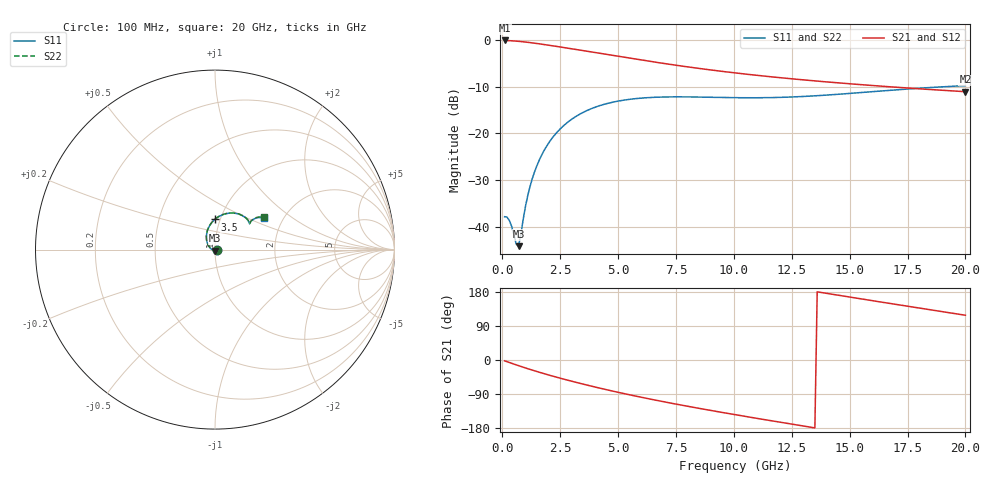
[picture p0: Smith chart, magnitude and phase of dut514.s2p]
! Touchstone file exported from HFSS 2024.1.0
!  File:  C:/UserFiles/LocalFiles/RDL_TSV_Batchsim/temp_RDL_TSV_514_1779740640.aedt
!  Generated:  04:36:37 AM May 26, 2026
!  Design:  RDL_TSV
!  Project:  temp_RDL_TSV_514_1779740640
!  Setup:  Setup1
!  Solution:  Sweep
! Variables:
!  dtsv = 12.26um
!  hbump = 3um
!  htsv = 73.42um
!  ldown = 315.69um
!  lrdl = 662.88um
!  p = 40
!  p1 = 55.71um
!  rhole = 10um
!  subl = 3598.59um
!  t = 450um
!  tdown = 3.33um
!  trdl = 4.18um
!  viad = 10um
!  wdown = 24.14um
!  wrdl = 28.05um
!  xbump = 18um
# GHz S MA R 50.000000
! Terminal data exported
! Port[1] = TM1_1_T1
! Port[2] = TM1_4_T1
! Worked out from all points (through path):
!   200 points, 100 MHz to 20 GHz, reference 50 ohm
!   highest |S21| = -0.12 dB at 100 MHz (marker M1); lowest = -11.1 dB at 20 GHz (marker M2)
!   group delay of S21, straight-line fit = 31.6 ps
!   lowest |S11| = -44.1 dB at 700 MHz (marker M3), VSWR 1.01, Z = 49.8 - j0.572 ohm
!   |S11| at or under -10 dB: start of sweep to 19.13 GHz
!   |S22| runs from -44.1 to -9.7 dB; largest |S21 - S12| = 3.7e-14
!   S11 on the Smith chart (normalised r, x): 100 MHz: 1.03, -0.00; 3.5 GHz: 0.94, +0.33; 20 GHz: 1.60, +0.63
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0.1  0.01285 -3.4  0.9864 -2.2  0.9864 -2.2  0.01285 -3.4
! Gamma 0 0 0 0
! Port Impedance 50 0 50 0
0.3  0.0118 -19.5  0.9815 -6.6  0.9815 -6.6  0.01179 -19.5
0.4  0.01022 -31.2  0.9783 -8.7  0.9783 -8.7  0.01021 -31.2
0.6  0.006543 -73.7  0.9703 -12.9  0.9703 -12.9  0.006524 -74.0
0.7  0.006221 -112.6  0.9656 -14.9  0.9656 -14.9  0.006224 -113.0
0.8  0.008246 -147.3  0.9604 -17.0  0.9604 -17.0  0.00828 -147.6
1  0.01651 178.4  0.9489 -21.0  0.9489 -21.0  0.01659 178.3
1.2  0.02721 162.0  0.936 -24.9  0.936 -24.9  0.02734 161.9
1.4  0.03922 150.8  0.9221 -28.7  0.9221 -28.7  0.03938 150.7
1.7  0.05861 137.9  0.9002 -34.2  0.9002 -34.2  0.05884 137.9
2.1  0.08541 124.2  0.8702 -41.3  0.8702 -41.3  0.08572 124.2
2.5  0.1116 112.8  0.8402 -48.0  0.8402 -48.0  0.112 112.8
3.5  0.1682 90.3  0.7676 -63.8  0.7676 -63.8  0.1688 90.3
4.3  0.2013 76.5  0.7129 -75.5  0.7129 -75.5  0.202 76.6
5.2  0.2259 64.3  0.6558 -87.9  0.6558 -87.9  0.2266 64.4
6.8  0.2444 49.3  0.5683 -108.1  0.5683 -108.1  0.2452 49.4
8.4  0.245 40.8  0.499 -126.5  0.499 -126.5  0.2458 41.0
10.1  0.2409 37.1  0.4423 -144.7  0.4423 -144.7  0.2418 37.4
11.7  0.2417 36.9  0.4009 -161.2  0.4009 -161.2  0.2428 37.2
13.4  0.2514 37.8  0.3661 -178.2  0.3661 -178.2  0.2527 38.2
16.7  0.2884 37.5  0.3156 149.6  0.3156 149.6  0.2906 37.8
20  0.3242 32.9  0.2793 118.1  0.2793 118.1  0.3274 33.3
